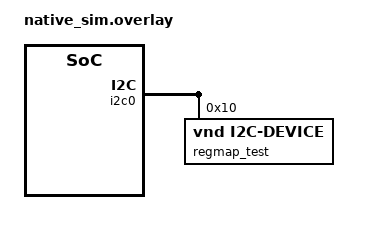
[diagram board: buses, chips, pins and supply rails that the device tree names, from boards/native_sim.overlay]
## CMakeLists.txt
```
# SPDX-License-Identifier: Apache-2.0

cmake_minimum_required(VERSION 3.28.0)
find_package(Zephyr REQUIRED HINTS $ENV{ZEPHYR_BASE})
project(emul_regmap)

target_sources(app PRIVATE src/main.c)
```

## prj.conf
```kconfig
CONFIG_ZTEST=y
CONFIG_I2C=y
CONFIG_SENSOR=y
CONFIG_EMUL=y
CONFIG_EMUL_SENSOR_REGMAP=y
```

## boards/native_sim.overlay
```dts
/*
 * Copyright The Zephyr Project Contributors
 * SPDX-License-Identifier: Apache-2.0
 */

&i2c0 {
	status = "okay";

	regmap_test: regmap-test@10 {
		compatible = "vnd,i2c-device";
		reg = <0x10>;
	};
};
```

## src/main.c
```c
/*
 * Copyright The Zephyr Project Contributors
 * SPDX-License-Identifier: Apache-2.0
 */

#define DT_DRV_COMPAT vnd_i2c_device

#include <zephyr/drivers/emul_sensor.h>
#include <zephyr/drivers/emul_sensor_regmap.h>
#include <zephyr/drivers/emul_stub_device.h>
#include <zephyr/drivers/i2c.h>
#include <zephyr/ztest.h>

#define NODE DT_NODELABEL(regmap_test)
#define ADDR DT_REG_ADDR(NODE)

#define REG_ID     0x00
#define REG_CTRL   0x01
#define REG_STATUS 0x02
#define REG_OUT_L  0x03
#define REG_OUT_H  0x04
#define REG_WIDE   0x05

static const struct emul_sensor_reg test_regs[] = {
	{REG_ID, "ID", EMUL_SENSOR_REG_RO, .reset = 0xAB},
	{REG_CTRL, "CTRL", .write_mask = GENMASK(5, 0), .self_clear = BIT(0)},
	{REG_STATUS, "STATUS", EMUL_SENSOR_REG_RO, .clear_on_read = BIT(7)},
	{REG_OUT_L, "OUT_L", EMUL_SENSOR_REG_RO},
	{REG_OUT_H, "OUT_H", EMUL_SENSOR_REG_RO},
	{REG_WIDE, "WIDE", .bytes = 2, .reset = 0x1234},
};

static const struct emul_sensor_channel test_channels[] = {
	{SENSOR_CHAN_AMBIENT_TEMP, .reg = REG_OUT_L, .is_signed = true, .bits = 12, .pos = 4,
	 .lsb = 0.0625, .min = -40.0, .max = 125.0, .ready = {REG_STATUS, BIT(7)}},
	{SENSOR_CHAN_PROX, .reg = REG_WIDE, .bits = 16, .select = {REG_CTRL, GENMASK(5, 4)},
	 .variants = {{.lsb = 1.0}, {.lsb = 2.0, .max = 100.0}}},
};

EMUL_SENSOR_REGMAP_DEFINE(test_regs, test_channels);
DT_INST_FOREACH_STATUS_OKAY(EMUL_STUB_DEVICE)

static const struct device *bus = DEVICE_DT_GET(DT_BUS(NODE));
static const struct emul *emul = EMUL_DT_GET(NODE);

static q31_t q31(double value, int8_t shift)
{
	return (q31_t)(value * 2147483648.0 / (double)BIT(shift));
}

static void before(void *fixture)
{
	ARG_UNUSED(fixture);
	zassert_ok(emul->init(emul, NULL));
}

ZTEST(emul_regmap, test_reset_values_and_byte_order)
{
	uint8_t buf[2];

	zassert_ok(i2c_reg_read_byte(bus, ADDR, REG_ID, &buf[0]));
	zassert_equal(buf[0], 0xAB);
	zassert_ok(i2c_burst_read(bus, ADDR, REG_WIDE, buf, sizeof(buf)));
	zassert_equal(buf[0], 0x34);
	zassert_equal(buf[1], 0x12);
	zassert_equal(emul_sensor_regmap_get_reg(emul, REG_WIDE), 0x1234);
}

ZTEST(emul_regmap, test_pointer_persists_and_increments)
{
	uint8_t ptr = REG_ID;
	uint8_t buf[2];

	zassert_ok(i2c_write(bus, &ptr, 1, ADDR));
	zassert_ok(i2c_read(bus, buf, 2, ADDR));
	zassert_equal(buf[0], 0xAB);
	zassert_equal(buf[1], 0x00);
	zassert_ok(i2c_read(bus, buf, 1, ADDR));
	zassert_equal(buf[0], emul_sensor_regmap_get_reg(emul, REG_STATUS));
}

ZTEST(emul_regmap, test_write_mask_and_self_clear)
{
	uint8_t val;

	zassert_ok(i2c_reg_write_byte(bus, ADDR, REG_CTRL, 0xFF));
	zassert_ok(i2c_reg_read_byte(bus, ADDR, REG_CTRL, &val));
	zassert_equal(val, 0x3E);
}

ZTEST(emul_regmap, test_wide_register_write)
{
	uint8_t buf[2] = {0x78, 0x56};

	zassert_ok(i2c_burst_write(bus, ADDR, REG_WIDE, buf, sizeof(buf)));
	zassert_equal(emul_sensor_regmap_get_reg(emul, REG_WIDE), 0x5678);
}

ZTEST(emul_regmap, test_read_only_and_unknown_registers)
{
	uint8_t val;

	zassert_ok(i2c_reg_write_byte(bus, ADDR, REG_ID, 0x00));
	zassert_ok(i2c_reg_read_byte(bus, ADDR, REG_ID, &val));
	zassert_equal(val, 0xAB);
	zassert_equal(i2c_reg_read_byte(bus, ADDR, 0x40, &val), -EIO);
	zassert_equal(i2c_reg_write_byte(bus, ADDR, 0x40, 0x00), -EIO);
}

ZTEST(emul_regmap, test_set_channel_and_clear_on_read)
{
	struct sensor_chan_spec ch = {.chan_type = SENSOR_CHAN_AMBIENT_TEMP};
	q31_t value = q31(-40.0, 7);
	uint8_t buf[2];
	uint8_t status;

	zassert_ok(emul_sensor_backend_set_channel(emul, ch, &value, 7));
	zassert_ok(i2c_burst_read(bus, ADDR, REG_OUT_L, buf, sizeof(buf)));
	zassert_equal(buf[0], 0x00);
	zassert_equal(buf[1], 0xD8);
	zassert_ok(i2c_reg_read_byte(bus, ADDR, REG_STATUS, &status));
	zassert_equal(status, 0x80);
	zassert_ok(i2c_reg_read_byte(bus, ADDR, REG_STATUS, &status));
	zassert_equal(status, 0x00);
}

ZTEST(emul_regmap, test_sample_range)
{
	struct sensor_chan_spec ch = {.chan_type = SENSOR_CHAN_AMBIENT_TEMP};
	q31_t lower, upper, epsilon;
	int8_t shift;

	zassert_ok(
		emul_sensor_backend_get_sample_range(emul, ch, &lower, &upper, &epsilon, &shift));
	zassert_equal(shift, 7);
	zassert_equal(lower, q31(-40.0, 7));
	zassert_equal(upper, q31(125.0, 7));
	zassert_equal(epsilon, q31(0.0625, 7));

	ch.chan_type = SENSOR_CHAN_MAGN_X;
	zassert_equal(
		emul_sensor_backend_get_sample_range(emul, ch, &lower, &upper, &epsilon, &shift),
		-ENOTSUP);
}

ZTEST(emul_regmap, test_variants)
{
	struct sensor_chan_spec ch = {.chan_type = SENSOR_CHAN_PROX};
	q31_t value = q31(50.0, 6);
	q31_t lower, upper, epsilon;
	int8_t shift;

	zassert_ok(emul_sensor_backend_set_channel(emul, ch, &value, 6));
	zassert_equal(emul_sensor_regmap_get_reg(emul, REG_WIDE), 50);
	zassert_ok(
		emul_sensor_backend_get_sample_range(emul, ch, &lower, &upper, &epsilon, &shift));
	zassert_equal(shift, 16);
	zassert_equal(upper, q31(65535.0, 16));

	zassert_ok(i2c_reg_write_byte(bus, ADDR, REG_CTRL, BIT(4)));
	zassert_ok(emul_sensor_backend_set_channel(emul, ch, &value, 6));
	zassert_equal(emul_sensor_regmap_get_reg(emul, REG_WIDE), 25);
	zassert_ok(
		emul_sensor_backend_get_sample_range(emul, ch, &lower, &upper, &epsilon, &shift));
	zassert_equal(shift, 7);
	zassert_equal(upper, q31(100.0, 7));
	zassert_equal(epsilon, q31(2.0, 7));
}

ZTEST_SUITE(emul_regmap, NULL, NULL, before, NULL, NULL);
```
